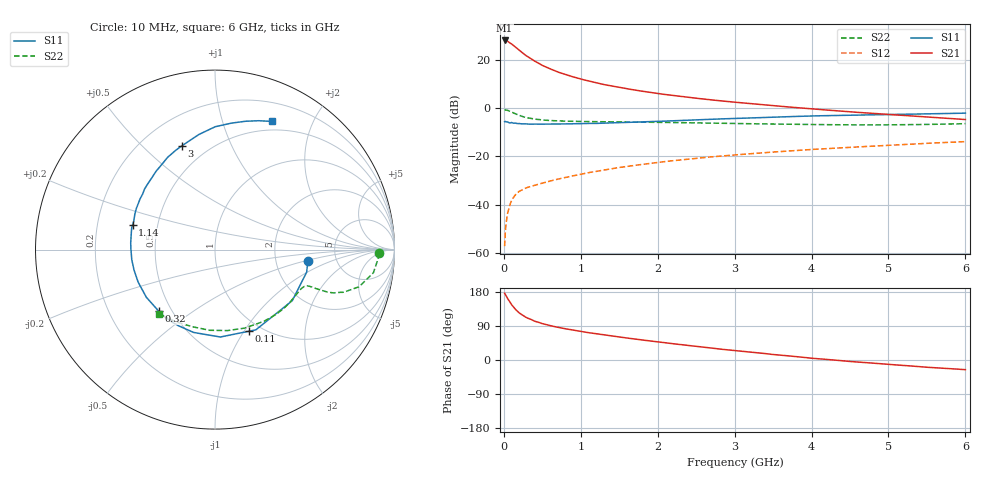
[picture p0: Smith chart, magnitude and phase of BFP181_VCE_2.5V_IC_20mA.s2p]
! Infineon Technologies  Discrete & RF Semiconductors
! BFP181
! VCE = 2.5 V,  IC =  20 mA
! Common Emitter S-Parameters:  Jan 2016
# GHz  S  MA  R  50
!  f  S11  S21  S12  S22
! GHz  MAG  ANG  MAG  ANG  MAG  ANG  MAG  ANG
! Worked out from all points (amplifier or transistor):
!   210 points, 10 MHz to 6 GHz, reference 50 ohm
!   highest |S21| = 27.9 dB at 10 MHz (marker M1)
!   |S21| within 3 dB of that: start of sweep to 161.7 MHz
!   unconditionally stable (mu >= 1): start of sweep to 17.97 MHz; 400.3 MHz to end of sweep
!   at 185 MHz: K = 0.61, MSG = 29.6 dB, |S12| = -34.8 dB
!   at 1.52 GHz: K = 1.59, MAG = 11.9 dB, |S12| = -24.5 dB
!   at 6 GHz: K = 1.20, MAG = 1.9 dB, |S12| = -13.9 dB
!   S11 on the Smith chart (normalised r, x): 10 MHz: 3.07, -0.55; 110 MHz: 0.88, -1.05; 320 MHz: 0.43, -0.37; 1.14 GHz: 0.36, +0.13; 3 GHz: 0.36, +0.66; 6 GHz: 0.40, +1.46
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0.01  0.521 -7.2  24.75 176.2  0.0014 71.8  0.9161 -1.3
0.02  0.5261 -13.8  24.7 172.7  0.0029 81.8  0.9105 -3.1
0.05  0.5161 -33.5  23.82 161.7  0.0068 78.5  0.892 -8.3
0.1  0.5016 -63.0  21 145.9  0.0124 65.1  0.8285 -14.5
0.11  0.4923 -67.5  20.36 143.7  0.0131 63.2  0.8141 -15.2
0.15  0.4879 -86.5  18.16 133.5  0.016 57.1  0.758 -18.2
0.2  0.4767 -104.5  15.6 124.1  0.019 54.1  0.7025 -20.1
0.26  0.4697 -120.7  13.04 115.7  0.0212 51.4  0.6534 -20.8
0.32  0.4646 -132.5  11.21 109.8  0.0232 50.2  0.6204 -21.0
0.4  0.4657 -145.2  9.289 102.4  0.0253 50.6  0.5882 -21.1
0.5  0.465 -157.1  7.565 96.0  0.0279 50.7  0.5644 -21.2
0.6  0.4653 -166.1  6.437 90.7  0.0309 52.5  0.5501 -21.5
0.8  0.4682 -179.4  4.902 82.3  0.0366 54.3  0.5345 -22.9
1.02  0.4758 168.6  3.878 74.8  0.0433 55.7  0.5251 -25.1
1.14  0.4794 163.3  3.486 71.1  0.0472 56.3  0.522 -26.7
1.5  0.4977 149.6  2.652 60.6  0.059 56.6  0.5141 -31.6
2.02  0.5292 132.6  1.963 47.4  0.0756 55.0  0.5046 -40.1
3  0.6068 107.8  1.316 24.9  0.1071 49.2  0.4782 -58.5
3.1  0.6135 105.7  1.273 23.1  0.1102 48.4  0.4747 -60.6
4.1  0.6889 88.4  0.931 3.2  0.1417 40.7  0.4537 -83.6
5.1  0.7396 75.4  0.716 -13.0  0.1725 32.8  0.4482 -109.0
6  0.7807 66.2  0.577 -25.5  0.2017 24.8  0.4745 -131.2
